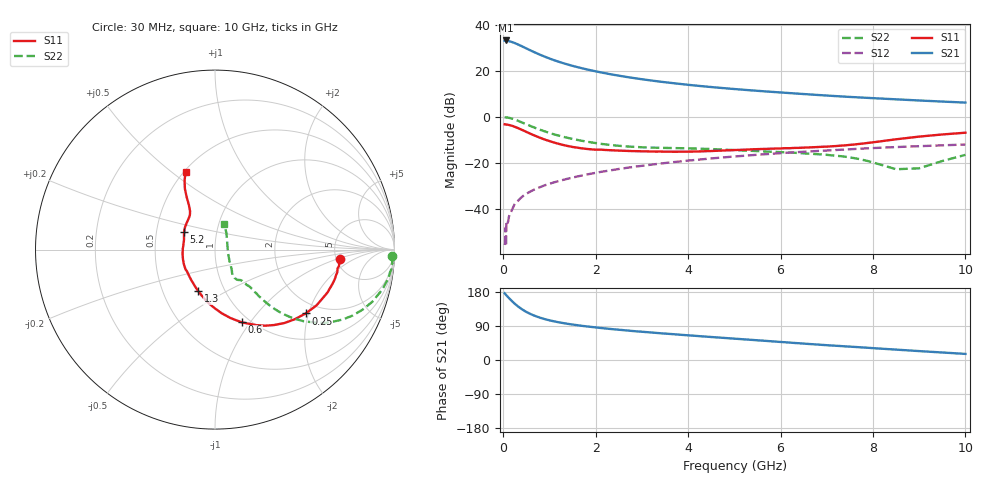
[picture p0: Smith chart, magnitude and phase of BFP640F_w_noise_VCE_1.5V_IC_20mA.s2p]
! Infineon Technologies  Discrete & RF Semiconductors
! BFP640F
! VCE =  1.5 V,  IC =  20 mA
! Common Emitter S-Parameters:  Apr 2013
# GHz  S  MA  R  50
!  f  S11  S21  S12  S22
! GHz  MAG  ANG  MAG  ANG  MAG  ANG  MAG  ANG
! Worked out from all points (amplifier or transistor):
!   99 points, 30 MHz to 10 GHz, reference 50 ohm
!   highest |S21| = 33.2 dB at 50 MHz (marker M1)
!   |S21| within 3 dB of that: start of sweep to 452.9 MHz
!   unconditionally stable (mu >= 1): 2.237 GHz to end of sweep
!   at 350 MHz: K = 0.36, MSG = 33.4 dB, |S12| = -35.6 dB
!   at 3.5 GHz: K = 1.05, MAG = 16.2 dB, |S12| = -19.9 dB
!   at 10 GHz: K = 1.05, MAG = 7.7 dB, |S12| = -11.9 dB
!   lowest NFmin = 0.82 dB at 450 MHz
!   S11 on the Smith chart (normalised r, x): 30 MHz: 5.42, -1.17; 250 MHz: 1.66, -1.91; 600 MHz: 0.92, -0.91; 1.3 GHz: 0.75, -0.37; 5.2 GHz: 0.70, +0.14; 10 GHz: 0.51, +0.56
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0.03  0.7009 -4.5  45.42 176.2  0.0017 88.3  0.9881 -2.2
0.05  0.6962 -7.7  45.93 173.5  0.004 63.6  0.9913 -4.5
0.06  0.6909 -8.7  45.59 171.8  0.0016 100.4  0.9845 -5.2
0.13  0.6737 -19.3  44.19 162.5  0.0073 81.8  0.9642 -12.2
0.2  0.6454 -28.8  42.04 154.1  0.0103 78.8  0.9231 -18.4
0.25  0.6175 -35.2  40.31 148.4  0.0133 78.0  0.8871 -22.2
0.3  0.5901 -41.1  38.37 143.3  0.0146 74.6  0.849 -25.7
0.4  0.5334 -52.0  34.49 134.3  0.0185 72.2  0.7707 -31.4
0.5  0.4793 -61.4  30.88 126.9  0.0219 70.1  0.7004 -35.6
0.6  0.432 -69.8  27.65 120.8  0.0248 69.0  0.6361 -38.9
0.7  0.3912 -77.2  24.85 115.8  0.0279 67.9  0.5808 -41.3
0.9  0.3266 -90.3  20.44 107.8  0.0334 67.0  0.4913 -44.3
1.1  0.2818 -101.7  17.19 102.0  0.0387 66.6  0.4238 -45.8
1.3  0.2492 -112.0  14.77 97.4  0.0438 66.2  0.3744 -46.4
1.7  0.2109 -130.7  11.5 90.2  0.0542 65.4  0.3076 -46.6
2.4  0.1905 -156.4  8.249 81.0  0.0725 63.6  0.2447 -48.5
3.4  0.1796 178.3  5.878 70.6  0.0988 59.7  0.2161 -51.5
5.1  0.1953 151.8  3.995 55.5  0.1428 51.3  0.1916 -55.2
5.2  0.197 150.5  3.924 54.6  0.1453 50.7  0.1893 -55.0
6.7  0.2227 132.7  3.075 41.6  0.1824 42.2  0.1598 -53.6
8.5  0.3314 118.4  2.434 27.4  0.2248 31.6  0.0744 -13.4
10  0.4602 110.9  2.069 16.1  0.2555 22.8  0.1523 70.1
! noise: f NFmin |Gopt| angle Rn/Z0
0.45  0.82  0.01  19  0.06
0.9  0.82  0.01  55  0.06
1.5  0.85  0.01  87  0.07
1.9  0.87  0.02  120  0.07
2.4  0.9  0.03  140  0.08
3.5  0.98  0.05  171  0.09
5.5  1.16  0.18  -132  0.12
10  1.64  0.41  -89  0.39
